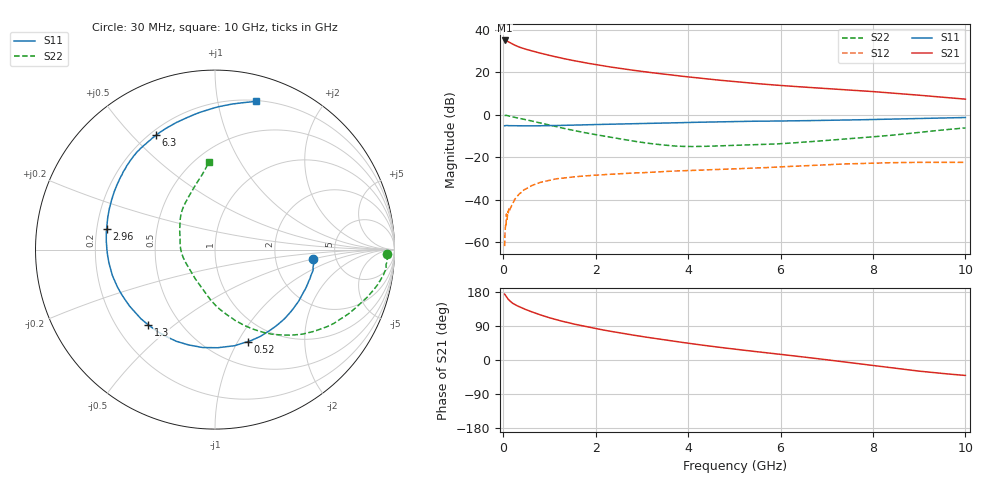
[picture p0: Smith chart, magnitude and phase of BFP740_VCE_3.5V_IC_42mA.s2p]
! Infineon Technologies  Discrete & RF Semiconductors
! BFP740
! VCE =  3.5 V,  IC =  42 mA
! Common Emitter S-Parameters:  Jan 2016
# GHz  S  MA  R  50
!  f  S11  S21  S12  S22
! GHz  MAG  ANG  MAG  ANG  MAG  ANG  MAG  ANG
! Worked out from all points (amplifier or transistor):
!   229 points, 30 MHz to 10 GHz, reference 50 ohm
!   highest |S21| = 35.0 dB at 30 MHz (marker M1)
!   |S21| within 3 dB of that: start of sweep to 333.4 MHz
!   unconditionally stable (mu >= 1): 5.609 GHz to 7.74 GHz
!   at 280 MHz: K = 0.35, MSG = 35.7 dB, |S12| = -39.0 dB
!   at 1.78 GHz: K = 0.56, MSG = 26.6 dB, |S12| = -28.8 dB
!   at 10 GHz: K = 0.97, MSG = 14.9 dB, |S12| = -22.5 dB
!   S11 on the Smith chart (normalised r, x): 30 MHz: 3.36, -0.48; 520 MHz: 0.76, -1.10; 1.3 GHz: 0.33, -0.41; 2.96 GHz: 0.24, +0.09; 6.3 GHz: 0.22, +0.59; 10 GHz: 0.21, +1.30
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0.03  0.5487 -5.2  55.95 173.9  0.0008 83.1  0.9575 -1.6
0.065  0.5568 -11.1  55.41 167.2  0.0034 87.3  0.9586 -5.8
0.08  0.5563 -13.5  54.52 164.5  0.0034 83.7  0.9539 -7.3
0.11  0.551 -18.4  52.15 159.9  0.0049 77.0  0.9388 -10.3
0.15  0.5479 -24.6  49.23 155.0  0.006 79.9  0.9165 -13.6
0.2  0.5476 -31.7  46.01 150.1  0.0078 73.4  0.8901 -17.2
0.34  0.545 -49.8  39.34 140.9  0.0133 69.6  0.8252 -25.7
0.52  0.544 -70.3  34.03 131.7  0.0187 61.8  0.7492 -35.4
0.7  0.547 -88.4  30.04 123.4  0.0232 54.8  0.6771 -44.1
0.9  0.5512 -105.6  26.5 115.2  0.027 48.9  0.6006 -52.4
1.1  0.5558 -119.8  23.51 107.9  0.0302 44.1  0.5342 -59.7
1.3  0.5607 -131.7  21.02 101.5  0.0321 40.4  0.4778 -65.9
1.7  0.5739 -151.0  17.26 90.4  0.0356 35.5  0.3886 -76.6
2.24  0.5931 -170.8  13.7 77.5  0.039 30.2  0.3053 -90.3
2.96  0.6153 169.1  10.59 62.9  0.0429 26.2  0.2255 -109.0
3.4  0.6314 158.7  9.22 54.7  0.0451 23.8  0.1967 -123.8
4.2  0.6623 142.9  7.347 41.0  0.0491 20.6  0.1782 -153.9
5.1  0.6927 129.9  5.876 27.3  0.0535 17.3  0.1909 179.8
6.3  0.7171 117.4  4.626 10.7  0.0612 12.8  0.2173 154.3
6.8  0.7292 111.7  4.253 3.6  0.0646 9.8  0.2378 145.3
8.4  0.7878 90.8  3.244 -20.5  0.074 -2.2  0.3275 116.9
10  0.8573 74.4  2.322 -40.8  0.0753 -12.9  0.4869 94.1
